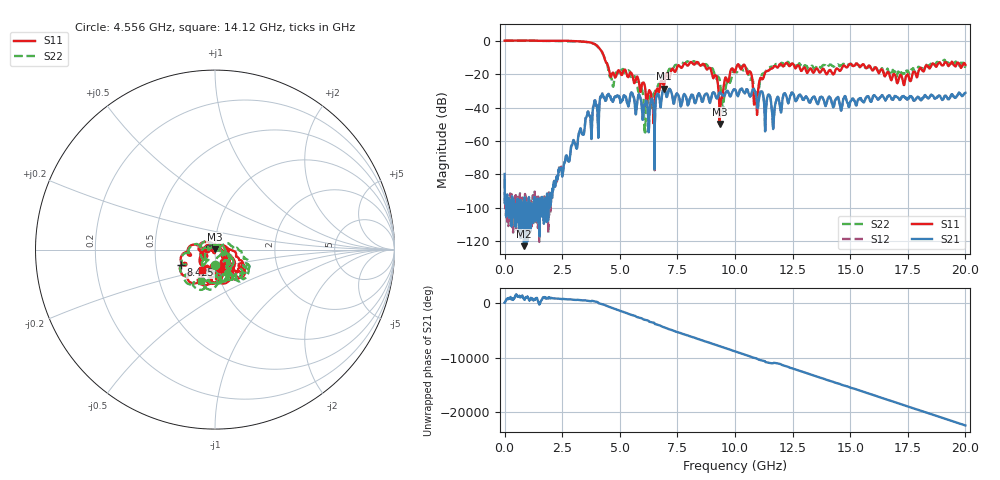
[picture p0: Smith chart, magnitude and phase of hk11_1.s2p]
#  HZ  S  RI  R  50.00
! Rohde & Schwarz Vector Network Analyzer
! Rohde-Schwarz,ZNB20-2Port,1311601062102128,3.60
! Created: UTC 4/29/2024, 3:46:59 PM
! freq[Hz]  re:S11  im:S11  re:S21  im:S21  re:S12  im:S12  re:S22  im:S22
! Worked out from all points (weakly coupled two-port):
!   2007 points, 100 kHz to 20 GHz, reference 50 ohm
!   highest |S21| = -28.69 dB at 6.919 GHz (marker M1); lowest = -122.9 dB at 837.6 MHz (marker M2)
!   lowest |S11| = -49.9 dB at 9.332 GHz (marker M3), VSWR 1.01, Z = 49.8 + j0.231 ohm
!   |S11| at or under -10 dB: 4.326 GHz to end of sweep
!   |S22| runs from -55.5 to 0.1 dB; largest |S21 - S12| = 0.0019
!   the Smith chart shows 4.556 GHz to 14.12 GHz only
!   S11 on the Smith chart (normalised r, x): 4.556 GHz: 1.04, -0.21; 8.425 GHz: 0.67, -0.12; 14.12 GHz: 0.85, -0.19
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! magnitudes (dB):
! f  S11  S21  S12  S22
! 100 kHz  0.0  -79.7  -83.0  0.1
! 837.6 MHz  0.1  -122.9  -94.7  0.0
! 2.243 GHz  0.0  -82.5  -83.4  -0.3
! 3.34 GHz  -0.6  -55.2  -54.9  -0.6
! 4.118 GHz  -4.7  -37.2  -37.4  -4.6
! 4.556 GHz  -19.5  -33.0  -33.0  -21.3
! 5.633 GHz  -25.4  -35.9  -35.9  -21.3
! 6.122 GHz  -31.3  -36.4  -36.4  -46.4
! 6.67 GHz  -30.1  -32.0  -31.9  -26.2
! 6.919 GHz  -26.6  -28.7  -28.7  -20.1
! 8.425 GHz  -13.6  -31.6  -31.6  -13.1
! 9.163 GHz  -20.9  -33.3  -33.3  -22.3
! 9.332 GHz  -49.9  -31.0  -30.9  -23.2
! 9.502 GHz  -28.1  -33.0  -33.0  -38.2
! 10 GHz  -18.6  -29.3  -29.3  -17.7
! 10.66 GHz  -18.6  -33.1  -33.2  -23.4
! 10.9 GHz  -34.1  -31.7  -31.7  -34.0
! 11.67 GHz  -15.9  -51.7  -51.8  -15.4
! 13.34 GHz  -17.9  -34.5  -34.5  -14.9
! 14.12 GHz  -17.6  -33.9  -33.9  -14.3
! 16.67 GHz  -19.1  -32.9  -32.9  -18.9
! 20 GHz  -14.5  -31.2  -31.2  -15.2
